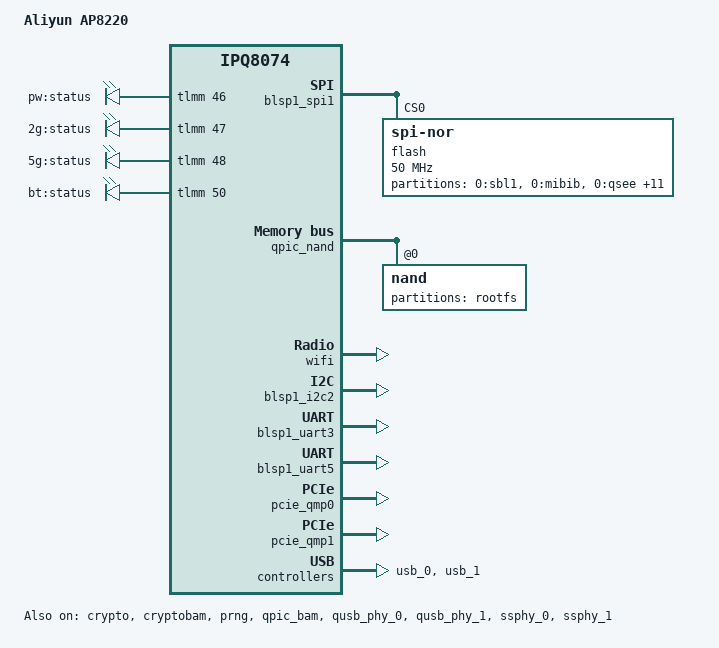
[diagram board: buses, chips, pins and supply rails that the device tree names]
// SPDX-License-Identifier: GPL-2.0-or-later OR MIT

/dts-v1/;

#include "ipq8071-edgecore.dtsi"

/ {
	model = "Aliyun AP8220";
	compatible = "aliyun,ap8220", "qcom,ipq8074";

	leds {
		compatible = "gpio-leds";

		led_pw: led-pw {
			label = "pw:status";
			gpios = <&tlmm 46 GPIO_ACTIVE_HIGH>;
		};

		led_2g: led-2g {
			label = "2g:status";
			gpios = <&tlmm 47 GPIO_ACTIVE_HIGH>;
		};

		led_5g: led-5g {
			label = "5g:status";
			gpios = <&tlmm 48 GPIO_ACTIVE_HIGH>;
		};

		led_bt: led-bt {
			label = "bt:status";
			gpios = <&tlmm 50 GPIO_ACTIVE_HIGH>;
		};
	};
};

&blsp1_spi1 {
	status = "okay";

	pinctrl-0 = <&spi_0_pins>;
	pinctrl-names = "default";
	cs-select = <0>;

	flash@0 {
		compatible = "jedec,spi-nor";
		#address-cells = <1>;
		#size-cells = <1>;
		reg = <0>;
		spi-max-frequency = <50000000>;

		partitions {
			compatible = "fixed-partitions";
			#address-cells = <1>;
			#size-cells = <1>;

			partition@0 {
				label = "0:sbl1";
				reg = <0x00 0x50000>;
			};

			partition@50000 {
				label = "0:mibib";
				reg = <0x50000 0x10000>;
			};

			partition@60000 {
				label = "0:qsee";
				reg = <0x60000 0x180000>;
			};

			partition@1e0000 {
				label = "0:devcfg";
				reg = <0x1e0000 0x10000>;
			};

			partition@1f0000 {
				label = "0:apdp";
				reg = <0x1f0000 0x10000>;
			};

			partition@200000 {
				label = "0:rpm";
				reg = <0x200000 0x40000>;
			};

			partition@240000 {
				label = "0:cdt";
				reg = <0x240000 0x10000>;
			};

			partition@250000 {
				label = "0:appsblenv";
				reg = <0x250000 0x10000>;
			};

			partition@260000 {
				label = "0:appsbl";
				reg = <0x260000 0xa0000>;
			};

			partition@300000 {
				label = "0:art";
				reg = <0x300000 0x40000>;
			};

			partition@340000 {
				label = "0:ethphyfw";
				reg = <0x340000 0x80000>;
			};

			partition@3c0000 {
				label = "product_info";
				reg = <0x3c0000 0x10000>;
			};

			partition@3d0000 {
				label = "mtdoops";
				reg = <0x3d0000 0x20000>;
			};

			partition@3f0000 {
				label = "priv_data1";
				reg = <0x3f0000 0x10000>;
			};
		};
	};
};

&qpic_nand {
	status = "okay";

	nand@0 {
		reg = <0>;
		#address-cells = <0x01>;
		#size-cells = <0x01>;
		nand-ecc-strength = <0x04>;
		nand-ecc-step-size = <0x200>;
		nand-bus-width = <0x08>;

		partition@0 {
			label = "rootfs";
			reg = <0x00 0x8000000>;
		};
	};
};

&wifi {
	qcom,ath11k-calibration-variant = "Aliyun-AP8220";
};

&blsp1_i2c2 {
	status = "okay";
};

&blsp1_spi1 {
	status = "okay";
};

&blsp1_uart3 {
	status = "okay";
};

&blsp1_uart5 {
	status = "okay";
};

&crypto {
	status = "okay";
};

&cryptobam {
	status = "okay";
};

&pcie_qmp0 {
	status = "okay";
};

&pcie_qmp1 {
	status = "okay";
};

&prng {
	status = "okay";
};

&qpic_bam {
	status = "okay";
};

&qusb_phy_0 {
	status = "okay";
};

&qusb_phy_1 {
	status = "okay";
};

&ssphy_0 {
	status = "okay";
};

&ssphy_1 {
	status = "okay";
};

&usb_0 {
	status = "okay";
};

&usb_1 {
	status = "okay";
};
